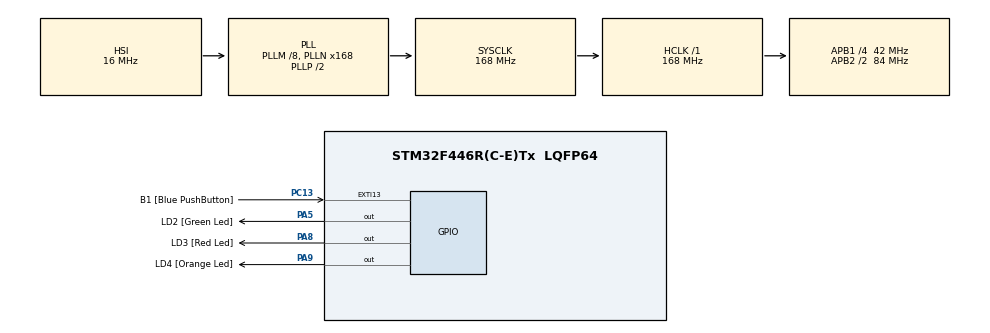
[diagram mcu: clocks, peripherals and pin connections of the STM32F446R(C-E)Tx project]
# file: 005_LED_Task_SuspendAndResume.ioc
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Mcu.Family=STM32F4
Mcu.Name=STM32F446R(C-E)Tx
Mcu.Package=LQFP64
NVIC.PriorityGroup=NVIC_PRIORITYGROUP_4
NVIC.TIM5_IRQn=true\:15\:0\:false\:false\:true\:false\:true\:true
NVIC.TimeBase=TIM5_IRQn
NVIC.TimeBaseIP=TIM5
PA13.GPIO_Label=TMS
PA13.Signal=SYS_JTMS-SWDIO
PA14.GPIO_Label=TCK
PA14.Signal=SYS_JTCK-SWCLK
PA2.GPIO_Label=USART_TX
PA2.Signal=USART2_TX
PA3.GPIO_Label=USART_RX
PA3.Signal=USART2_RX
PA5.GPIO_Label=LD2 [Green Led]
PA5.Signal=GPIO_Output
PA8.GPIO_Label=LD3 [Red Led]
PA8.Signal=GPIO_Output
PA9.GPIO_Label=LD4 [Orange Led]
PA9.Signal=GPIO_Output
PB3.GPIO_Label=SWO
PB3.Signal=SYS_JTDO-SWO
PC13.GPIO_Label=B1 [Blue PushButton]
PC13.GPIO_ModeDefaultEXTI=GPIO_MODE_IT_FALLING
PC13.Signal=GPXTI13
PC14-OSC32_IN.Signal=RCC_OSC32_IN
PC15-OSC32_OUT.Signal=RCC_OSC32_OUT
PH0-OSC_IN.Signal=RCC_OSC_IN
PH1-OSC_OUT.Signal=RCC_OSC_OUT
ProjectManager.HeapSize=0x200
ProjectManager.StackSize=0x400
ProjectManager.TargetToolchain=STM32CubeIDE
RCC.AHBFreq_Value=168000000
RCC.APB1CLKDivider=RCC_HCLK_DIV4
RCC.APB1Freq_Value=42000000
RCC.APB1TimFreq_Value=84000000
RCC.APB2CLKDivider=RCC_HCLK_DIV2
RCC.APB2Freq_Value=84000000
RCC.APB2TimFreq_Value=168000000
RCC.CortexFreq_Value=168000000
RCC.FLatency-AdvancedSettings=FLASH_LATENCY_5
RCC.HCLKFreq_Value=168000000
RCC.HSE_VALUE=8000000
RCC.HSI_VALUE=16000000
RCC.LSE_VALUE=32768
RCC.PLLM=8
RCC.PLLN=168
RCC.SYSCLKFreq_VALUE=168000000
RCC.SYSCLKSource=RCC_SYSCLKSOURCE_PLLCLK
RCC.USBFreq_Value=168000000
RCC.VCOOutputFreq_Value=336000000
VP_SYS_VS_tim5.Mode=TIM5
board=NUCLEO-F446RE

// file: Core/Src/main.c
/* USER CODE BEGIN Header */
/**
  ******************************************************************************
  * @file           : main.c
  * @brief          : Main program body
  ******************************************************************************
  * @attention
  *
  * Copyright (c) 2023 STMicroelectronics.
  * All rights reserved.
  *
  * This software is licensed under terms that can be found in the LICENSE file
  * in the root directory of this software component.
  * If no LICENSE file comes with this software, it is provided AS-IS.
  *
  ******************************************************************************
  */
/* USER CODE END Header */
#include "main.h"

/* USER CODE BEGIN Includes */

#include "FreeRTOS.h"
#include "task.h"

/* USER CODE END Includes */

/* USER CODE BEGIN PD */

#define DWT_CTRL    (*(volatile uint32_t*)0xE0001000)

/* USER CODE END PD */

void SystemClock_Config(void);
static void MX_GPIO_Init(void);
/* USER CODE BEGIN PFP */

static void led_green_handler(void* parameters);
static void led_orange_handler(void* parameters);
static void led_red_handler(void* parameters);
static void button_handler(void* parameters);
static void resume_tasks_handler(void* parameters);

extern void SEGGER_UART_init(uint32_t);

TaskHandle_t led_g_task_handle;
TaskHandle_t led_o_task_handle;
TaskHandle_t led_r_task_handle;
TaskHandle_t btn_task_handle;
TaskHandle_t rsm_tasks_handle;

TaskHandle_t volatile next_task_handle = NULL;

/* USER CODE END PFP */

int main(void)
{
  /* USER CODE BEGIN 1 */

	BaseType_t status;

  /* USER CODE END 1 */

  /* MCU Configuration--------------------------------------------------------*/

  /* Reset of all peripherals, Initializes the Flash interface and the Systick. */
  HAL_Init();

  /* Configure the system clock */
  SystemClock_Config();

  /* Initialize all configured peripherals */
  MX_GPIO_Init();
  /* USER CODE BEGIN 2 */

  SEGGER_UART_init(500000);

  // CYCLCNT enable
  DWT_CTRL |= (1<<0);

  SEGGER_SYSVIEW_Conf();

  status = xTaskCreate(led_green_handler, "LED_green_task", 200, NULL, 3, &led_g_task_handle);

  configASSERT(status == pdPASS);

  next_task_handle = led_g_task_handle;

  status = xTaskCreate(led_orange_handler, "LED_orange_task", 200, NULL, 2, &led_o_task_handle);

  configASSERT(status == pdPASS);

  status = xTaskCreate(led_red_handler, "LED_red_task", 200, NULL, 1, &led_r_task_handle);

  configASSERT(status == pdPASS);

  status = xTaskCreate(button_handler, "Button_task", 200, NULL, 4, &btn_task_handle);

  configASSERT(status == pdPASS);

  status = xTaskCreate(resume_tasks_handler, "Resume_Tasks_task", 200, NULL, 1, &rsm_tasks_handle);

  configASSERT(status == pdPASS);

  // Start the freeRTOS scheduler
  vTaskStartScheduler();

  /* USER CODE END 2 */

  /* Infinite loop */
  while (1)
  {

  }
}

void SystemClock_Config(void)
{
  RCC_OscInitTypeDef RCC_OscInitStruct = {0};
  RCC_ClkInitTypeDef RCC_ClkInitStruct = {0};

  /** Configure the main internal regulator output voltage
  */
  __HAL_RCC_PWR_CLK_ENABLE();
  __HAL_PWR_VOLTAGESCALING_CONFIG(PWR_REGULATOR_VOLTAGE_SCALE1);

  /** Initializes the RCC Oscillators according to the specified parameters
  * in the RCC_OscInitTypeDef structure.
  */
  RCC_OscInitStruct.OscillatorType = RCC_OSCILLATORTYPE_HSI;
  RCC_OscInitStruct.HSIState = RCC_HSI_ON;
  RCC_OscInitStruct.HSICalibrationValue = RCC_HSICALIBRATION_DEFAULT;
  RCC_OscInitStruct.PLL.PLLState = RCC_PLL_ON;
  RCC_OscInitStruct.PLL.PLLSource = RCC_PLLSOURCE_HSI;
  RCC_OscInitStruct.PLL.PLLM = 8;
  RCC_OscInitStruct.PLL.PLLN = 168;
  RCC_OscInitStruct.PLL.PLLP = RCC_PLLP_DIV2;
  RCC_OscInitStruct.PLL.PLLQ = 2;
  RCC_OscInitStruct.PLL.PLLR = 2;
  if (HAL_RCC_OscConfig(&RCC_OscInitStruct) != HAL_OK)
  {
    Error_Handler();
  }

  /** Initializes the CPU, AHB and APB buses clocks
  */
  RCC_ClkInitStruct.ClockType = RCC_CLOCKTYPE_HCLK|RCC_CLOCKTYPE_SYSCLK
                              |RCC_CLOCKTYPE_PCLK1|RCC_CLOCKTYPE_PCLK2;
  RCC_ClkInitStruct.SYSCLKSource = RCC_SYSCLKSOURCE_PLLCLK;
  RCC_ClkInitStruct.AHBCLKDivider = RCC_SYSCLK_DIV1;
  RCC_ClkInitStruct.APB1CLKDivider = RCC_HCLK_DIV4;
  RCC_ClkInitStruct.APB2CLKDivider = RCC_HCLK_DIV2;

  if (HAL_RCC_ClockConfig(&RCC_ClkInitStruct, FLASH_LATENCY_5) != HAL_OK)
  {
    Error_Handler();
  }
}

static void MX_GPIO_Init(void)
{
  GPIO_InitTypeDef GPIO_InitStruct = {0};

  /* GPIO Ports Clock Enable */
  __HAL_RCC_GPIOC_CLK_ENABLE();
  __HAL_RCC_GPIOH_CLK_ENABLE();
  __HAL_RCC_GPIOA_CLK_ENABLE();
  __HAL_RCC_GPIOB_CLK_ENABLE();

  /*Configure GPIO pin Output Level */
  HAL_GPIO_WritePin(GPIOA, LD2_Pin|LD3_Pin|LD4_Pin, GPIO_PIN_RESET);

  /*Configure GPIO pin : B1_Pin */
  GPIO_InitStruct.Pin = B1_Pin;
  GPIO_InitStruct.Mode = GPIO_MODE_IT_FALLING;
  GPIO_InitStruct.Pull = GPIO_NOPULL;
  HAL_GPIO_Init(B1_GPIO_Port, &GPIO_InitStruct);

  /*Configure GPIO pins : USART_TX_Pin USART_RX_Pin */
  GPIO_InitStruct.Pin = USART_TX_Pin|USART_RX_Pin;
  GPIO_InitStruct.Mode = GPIO_MODE_AF_PP;
  GPIO_InitStruct.Pull = GPIO_NOPULL;
  GPIO_InitStruct.Speed = GPIO_SPEED_FREQ_VERY_HIGH;
  GPIO_InitStruct.Alternate = GPIO_AF7_USART2;
  HAL_GPIO_Init(GPIOA, &GPIO_InitStruct);

  /*Configure GPIO pins : LD2_Pin LD3_Pin LD4_Pin */
  GPIO_InitStruct.Pin = LD2_Pin|LD3_Pin|LD4_Pin;
  GPIO_InitStruct.Mode = GPIO_MODE_OUTPUT_PP;
  GPIO_InitStruct.Pull = GPIO_NOPULL;
  GPIO_InitStruct.Speed = GPIO_SPEED_FREQ_LOW;
  HAL_GPIO_Init(GPIOA, &GPIO_InitStruct);

}

/* USER CODE BEGIN 4 */

static void led_green_handler(void* parameters){

	BaseType_t status;

	while(1){
		SEGGER_SYSVIEW_PrintfTarget("Toggling Green LED");
		HAL_GPIO_TogglePin(GPIOA, LED_GREEN_PIN);
		status = xTaskNotifyWait(0, 0, NULL, pdMS_TO_TICKS(1000));
		if(status == pdTRUE){
			vTaskSuspendAll();
			next_task_handle = led_o_task_handle;
			xTaskResumeAll();
			HAL_GPIO_WritePin(GPIOA, LED_GREEN_PIN, GPIO_PIN_SET);
			SEGGER_SYSVIEW_PrintfTarget("Deleting Green LED Task");
//			vTaskDelete(NULL);
			vTaskSuspend(NULL);
		}

	}
}

static void led_orange_handler(void* parameters){

	BaseType_t status;

	while(1){
		SEGGER_SYSVIEW_PrintfTarget("Toggling Orange LED");
		HAL_GPIO_TogglePin(GPIOA, LED_ORANGE_PIN);
		status = xTaskNotifyWait(0, 0, NULL, pdMS_TO_TICKS(800));
		if(status == pdTRUE){
			vTaskSuspendAll();
			next_task_handle = led_r_task_handle;
			xTaskResumeAll();
			HAL_GPIO_WritePin(GPIOA, LED_ORANGE_PIN, GPIO_PIN_SET);
			SEGGER_SYSVIEW_PrintfTarget("Deleting Orange LED Task");
//			vTaskDelete(NULL);
			vTaskSuspend(NULL);
		}
	}
}

static void led_red_handler(void* parameters){

	BaseType_t status;

	while(1){
		SEGGER_SYSVIEW_PrintfTarget("Toggling Red LED");
		HAL_GPIO_TogglePin(GPIOA, LED_RED_PIN);
		status = xTaskNotifyWait(0, 0, NULL, pdMS_TO_TICKS(400));
		if(status == pdTRUE){
			vTaskSuspendAll();
			next_task_handle = rsm_tasks_handle;
			xTaskResumeAll();
			HAL_GPIO_WritePin(GPIOA, LED_RED_PIN, GPIO_PIN_SET);
			SEGGER_SYSVIEW_PrintfTarget("Deleting Red LED and Button Tasks");
//			vTaskDelete(btn_task_handle);
//			vTaskDelete(NULL);
			vTaskSuspend(NULL);
		}
	}
}

static void resume_tasks_handler(void* parameters){

	BaseType_t status;

	while(1){
		SEGGER_SYSVIEW_PrintfTarget("Turning all LEDs off. Waiting to Resume all Tasks");
		status = xTaskNotifyWait(0, 0, NULL, pdMS_TO_TICKS(100));
		if(status == pdTRUE){
			vTaskSuspendAll();
			next_task_handle = led_g_task_handle;
			xTaskResumeAll();
			SEGGER_SYSVIEW_PrintfTarget("Resuming the LED tasks");
			vTaskResume(led_g_task_handle);
			vTaskResume(led_o_task_handle);
			vTaskResume(led_r_task_handle);
		}
	}
}

static void button_handler(void* parameters){

	uint8_t btn_read = 0;
	uint8_t prev_read = 0;

	while(1){
		btn_read = HAL_GPIO_ReadPin(B1_GPIO_Port, B1_Pin);

		if(!btn_read){
			if(prev_read){
				SEGGER_SYSVIEW_PrintfTarget("Hitting Button");
				xTaskNotify(next_task_handle, 0, eNoAction);
			}
		}
		prev_read = btn_read;
		vTaskDelay(pdMS_TO_TICKS(10));
	}
}

/* USER CODE END 4 */

void HAL_TIM_PeriodElapsedCallback(TIM_HandleTypeDef *htim)
{
  if (htim->Instance == TIM5) {
    HAL_IncTick();
  }
}

void Error_Handler(void)
{
  __disable_irq();
  while (1)
  {
  }
}
